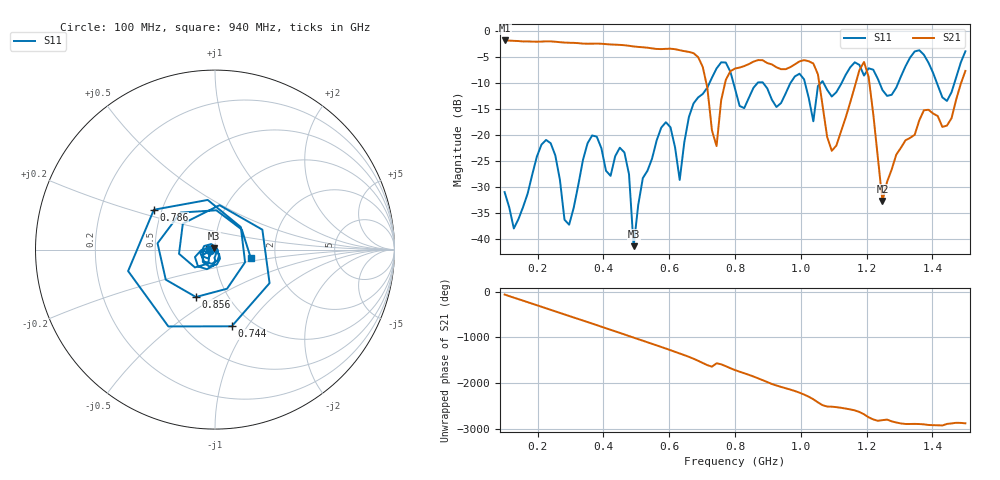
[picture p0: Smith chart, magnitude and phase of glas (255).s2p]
! NanoVNA-App
! Date: 2025-09-25 15:57:27
! Start: 100MHz Stop: 1,5GHz Points: 101
! S-Parameter data: F S11 S21 S12 S22
# Hz S RI R 50
!  Frequency  S11_Real  S11_Imag  S21_Real  S21_Imag  S12_Real  S12_Imag  S22_Real  S22_Imag
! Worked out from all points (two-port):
!   101 points, 100 MHz to 1.5 GHz, reference 50 ohm
!   highest |S21| = -1.80 dB at 100 MHz (marker M1); lowest = -32.6 dB at 1.248 GHz (marker M2)
!   |S21| within 3 dB of the highest: start of sweep to 684.2 MHz
!   lowest |S11| = -41.3 dB at 492 MHz (marker M3), VSWR 1.02, Z = 49.5 + j0.664 ohm
!   |S11| at or under -10 dB: start of sweep to 722.3 MHz; 795.4 MHz to 868.1 MHz (72.71 MHz wide, 8.74 % of centre); 885.9 MHz to 968.2 MHz (82.34 MHz wide, 8.88 % of centre) (the widest 3 of 7)
!   S12 and S22 are empty: the file has one direction only
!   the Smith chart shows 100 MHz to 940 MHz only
!   S11 on the Smith chart (normalised r, x): 100 MHz: 0.95, -0.01; 744 MHz: 0.80, -0.85; 786 MHz: 0.45, +0.24; 856 MHz: 0.71, -0.41; 940 MHz: 1.49, -0.14
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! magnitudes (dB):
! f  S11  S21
! 100 MHz  -30.9  -1.8
! 128 MHz  -37.9  -1.9
! 226 MHz  -20.9  -2.0
! 296 MHz  -37.2  -2.2
! 338 MHz  -24.8  -2.4
! 464 MHz  -23.3  -2.7
! 492 MHz  -41.3  -3.0
! 576 MHz  -18.5  -3.5
! 632 MHz  -28.6  -3.7
! 702 MHz  -12.1  -6.9
! 744 MHz  -7.2  -22.1
! 786 MHz  -7.8  -7.7
! 800 MHz  -11.1  -7.2
! 856 MHz  -10.9  -5.9
! 940 MHz  -13.8  -7.3
! 996 MHz  -8.2  -5.8
! 1.038 GHz  -17.3  -6.2
! 1.094 GHz  -12.6  -23.0
! 1.192 GHz  -8.5  -5.9
! 1.248 GHz  -11.3  -32.6
! 1.276 GHz  -12.2  -26.6
! 1.5 GHz  -3.9  -7.7
